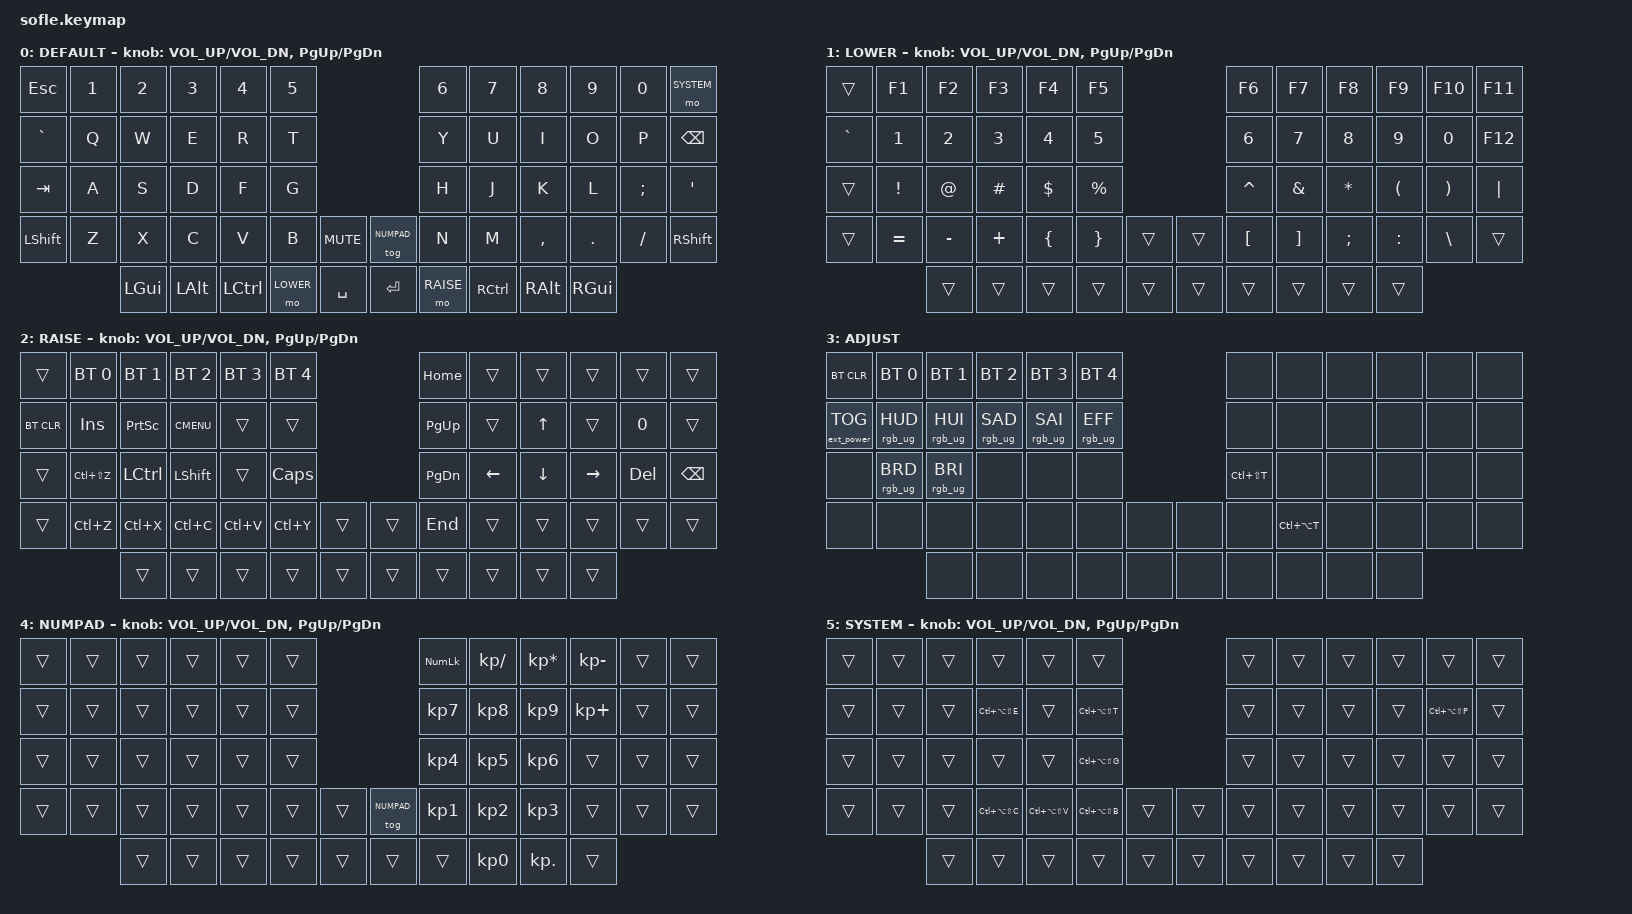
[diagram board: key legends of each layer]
/*
 * Copyright (c) 2020 The ZMK Contributors
 *
 * SPDX-License-Identifier: MIT
 */

#include <behaviors.dtsi>
#include <dt-bindings/zmk/keys.h>
#include <dt-bindings/zmk/bt.h>
#include <dt-bindings/zmk/rgb.h>
#include <dt-bindings/zmk/ext_power.h>

#define BASE 0
#define LOWER 1
#define RAISE 2
#define ADJUST 3
#define NUMPAD 4
#define SYSTEM 5

/ {

   // Activate ADJUST layer by pressing raise and lower
    conditional_layers {
        compatible = "zmk,conditional-layers";
        adjust_layer {
            if-layers = <LOWER RAISE>;
            then-layer = <ADJUST>;
        };
    };

    keymap {
        compatible = "zmk,keymap";

        default_layer {
            display-name = "DEFAULT";
// ------------------------------------------------------------------------------------------------------------
// |  ESC  |  1  |  2  |  3   |  4   |  5   |                   |  6   |  7    |  8    |  9   |   0   |       |
// |   `   |  Q  |  W  |  E   |  R   |  T   |                   |  Y   |  U    |  I    |  O   |   P   | BKSPC |
// |  TAB  |  A  |  S  |  D   |  F   |  G   |                   |  H   |  J    |  K    |  L   |   ;   |   '   |
// | SHIFT |  Z  |  X  |  C   |  V   |  B   |  MUTE  |  |       |  N   |  M    |  ,    |  .   |   /   | SHIFT |
//               | GUI | ALT  | CTRL | LOWER|  SPACE |  | ENTER | RAISE| CTRL  | ALT   | GUI  |
            bindings = <
&kp ESC &kp N1 &kp N2   &kp N3   &kp N4    &kp N5                           &kp N6 &kp N7    &kp N8    &kp N9   &kp N0   &mo SYSTEM
&kp GRAVE &kp Q  &kp W    &kp E    &kp R     &kp T                            &kp Y  &kp U     &kp I     &kp O    &kp P    &kp BSPC
&kp TAB   &kp A  &kp S    &kp D    &kp F     &kp G                            &kp H  &kp J     &kp K     &kp L    &kp SEMI &kp SQT
&kp LSHFT &kp Z  &kp X    &kp C    &kp V     &kp B      &kp C_MUTE &tog NUMPAD      &kp N  &kp M     &kp COMMA &kp DOT  &kp FSLH &kp RSHFT
                 &kp LGUI &kp LALT &kp LCTRL &mo LOWER &kp SPACE  &kp RET   &mo RAISE &kp RCTRL &kp RALT &kp RGUI
            >;

            sensor-bindings = <&inc_dec_kp C_VOL_UP C_VOL_DN &inc_dec_kp PG_UP PG_DN>;
        };

        lower_layer {
            display-name = "LOWER";
// TODO: Some binds are waiting for shifted keycode support.
// ------------------------------------------------------------------------------------------------------------
// |       |  F1 |  F2 |  F3  |  F4  |  F5  |                   |  F6  |  F7   |  F8   |  F9  |  F10  |  F11  |
// |   `   |  1  |  2  |  3   |  4   |  5   |                   |  6   |  7    |  8    |  9   |   0   |  F12  |
// |       |  !  |  @  |  #   |  $   |  %   |                   |  ^   |  &    |  *    |  (   |   )   |   |   |
// |       |  =  |  -  |  +   |  {   |  }   |        |  |       |  [   |  ]    |  ;    |  :   |   \   |       |
//               |     |      |      |      |        |  |       |      |       |       |      |
            bindings = <
&trans    &kp F1    &kp F2    &kp F3      &kp F4    &kp F5                    &kp F6    &kp F7   &kp F8    &kp F9    &kp F10   &kp F11
&kp GRAVE &kp N1    &kp N2    &kp N3      &kp N4    &kp N5                    &kp N6    &kp N7   &kp N8    &kp N9    &kp N0    &kp F12
&trans    &kp EXCL  &kp AT    &kp HASH    &kp DLLR  &kp PRCNT                 &kp CARET &kp AMPS &kp ASTRK &kp LPAR  &kp RPAR  &kp PIPE
&trans    &kp EQUAL &kp MINUS &kp PLUS &kp LBRC  &kp RBRC   &trans &trans  &kp LBKT  &kp RBKT &kp SEMI  &kp COLON &kp BSLH  &trans
                    &trans    &trans      &trans    &trans     &trans &trans  &trans    &trans   &trans    &trans
            >;

            sensor-bindings = <&inc_dec_kp C_VOL_UP C_VOL_DN &inc_dec_kp PG_UP PG_DN>;
        };

        raise_layer {
            display-name = "RAISE";
// ------------------------------------------------------------------------------------------------------------
// | BTCLR | BT1  | BT2  |  BT3  |  BT4  |  BT5 |                | INIT |      |       |      |       |       |
// |       | INS  | PSCR | GUI   |       |      |                | PGUP |      |   ^   |      |       |       |
// |       | ALT  | CTRL | SHIFT |       | CAPS |                | PGDN |   <- |   v   |  ->  |  DEL  | BKSPC |
// |       | UNDO | CUT  | COPY  | PASTE |      |      |  |      | END  |      |       |      |       |       |
//                |      |       |       |      |      |  |      |      |      |       |      |
            bindings = <
&trans     &bt BT_SEL 0  &bt BT_SEL 1 &bt BT_SEL 2 &bt BT_SEL 3 &bt BT_SEL 4                     &kp HOME  &trans    &trans   &trans    &trans  &trans
&bt BT_CLR &kp INS       &kp PSCRN    &kp K_CMENU  &trans       &trans                           &kp PG_UP &trans    &kp UP   &trans    &kp N0  &trans
&trans     &kp LC(LS(Z)) &kp LCTRL    &kp LSHFT    &trans       &kp CLCK                         &kp PG_DN &kp LEFT  &kp DOWN &kp RIGHT &kp DEL &kp BSPC
&trans     &kp LC(Z)     &kp LC(X)    &kp LC(C)    &kp LC(V)    &kp LC(Y)        &trans  &trans  &kp END    &trans    &trans   &trans    &trans  &trans
                         &trans       &trans       &trans       &trans           &trans  &trans  &trans    &trans    &trans   &trans
            >;

            sensor-bindings = <&inc_dec_kp C_VOL_UP C_VOL_DN &inc_dec_kp PG_UP PG_DN>;
        };

// ----------------------------------------------------------------------------------------------------------------------------
// | BTCLR  |  BT1    |  BT2    |   BT3   |   BT4   |   BT5   |               |  OPEN_VSC      |      |       |      |       |       |
// | EXTPWR | RGB_HUD | RGB_HUI | RGB_SAD | RGB_SAI | RGB_EFF |               |                |      |       |      |       |       |
// |        | RGB_BRD | RGB_BRI |         |         |         |               |                |      |       | CAPS |  NUM  | SCRL  |
// |        |         |         |         |         |         | NONE | |      | OPEN_TERMINAL  |      |       |      |       |       |
//                    |         |         |         |         |      | |      |                |      |       |      |
        adjust_layer {
           display-name = "ADJUST";
           bindings = <
&bt BT_CLR        &bt BT_SEL 0    &bt BT_SEL 1    &bt BT_SEL 2    &bt BT_SEL 3    &bt BT_SEL 4                            &none           &none &none &none &none &none
&ext_power EP_TOG &rgb_ug RGB_HUD &rgb_ug RGB_HUI &rgb_ug RGB_SAD &rgb_ug RGB_SAI &rgb_ug RGB_EFF                         &none           &none &none &none &none &none
&none             &rgb_ug RGB_BRD &rgb_ug RGB_BRI &none           &none           &none                                   &kp LC(LS(T))   &none &none &none &none &none
&none             &none           &none           &none           &none           &none            &none &none  &none     &kp LC(LA(T))   &none &none &none &none
                                  &none           &none           &none           &none            &none                  &none           &none &none &none &none
    >;
};
          
numpad_layer {
    display-name = "NUMPAD";

// ------------------------------------------------------------------------------------------------------------
// |       |     |     |     |     |     |                   | NUM |  /  |  *  |  -  |     |       |
// |       |     |     |     |     |     |                   |  7  |  8  |  9  |  +  |     |       |
// |       |     |     |     |     |     |                   |  4  |  5  |  6  |     |     |       |
// |       |     |     |     |     |     |        |  |       |  1  |  2  |  3  |     |     |       |
//               |     |     |     |     |        |  |       |     |  0  |  .  |     |
// ------------------------------------------------------------------------------------------------------------

    bindings = <
&trans &trans &trans &trans &trans &trans                         &kp KP_NUM    &kp KP_DIVIDE &kp KP_MULTIPLY &kp KP_MINUS &trans       &trans
&trans &trans &trans &trans &trans &trans                         &kp KP_N7     &kp KP_N8     &kp KP_N9       &kp KP_PLUS  &trans       &trans
&trans &trans &trans &trans &trans &trans                         &kp KP_N4     &kp KP_N5     &kp KP_N6       &trans       &trans       &trans
&trans &trans &trans &trans &trans &trans &trans &tog NUMPAD      &kp KP_N1     &kp KP_N2     &kp KP_N3       &trans       &trans       &trans
                     &trans &trans &trans &trans &trans &trans    &trans        &kp KP_N0     &kp KP_DOT      &trans
    >;

    sensor-bindings = <
        &inc_dec_kp C_VOL_UP C_VOL_DN
        &inc_dec_kp PG_UP PG_DN
    >;
};
 
system_layer {
    display-name = "SYSTEM";

// ------------------------------------------------------------------------------------------------------------
// |        |        |        |        |        |        |                   |        |        |        |        |        |
// |        |        |        | FILES  |        |  TERM  |                   |        |        |        |        | PWRSHL |
// |        |        |        |        |        |  GIT   |                   |        |        |        |        |        |
// |        |        |        |  CMD   | VSCODE | BROWSER|        |  |       |        |        |        |        |        |
//                   |        |        |        |        |        |  |       |        |        |        |        |
//
// DISPARADORES PERSONALIZADOS:
//
// FILES   = Ctrl + Alt + Shift + E  -> Explorador de archivos
// TERM    = Ctrl + Alt + Shift + T  -> Windows Terminal
// PWRSHL  = Ctrl + Alt + Shift + P  -> PowerShell
// GIT     = Ctrl + Alt + Shift + G  -> Git Bash
// CMD     = Ctrl + Alt + Shift + C  -> Command Prompt
// VSCODE  = Ctrl + Alt + Shift + V  -> Visual Studio Code
// BROWSER = Ctrl + Alt + Shift + B  -> Navegador
//
// Todas las demás teclas son transparentes y conservan el comportamiento de BASE.
// ------------------------------------------------------------------------------------------------------------

    bindings = <
&trans &trans &trans &trans            &trans             &trans                                      &trans &trans &trans &trans &trans            &trans
&trans &trans &trans &kp LC(LA(LS(E))) &trans             &kp LC(LA(LS(T)))                           &trans &trans &trans &trans &kp LC(LA(LS(P))) &trans
&trans &trans &trans &trans            &trans             &kp LC(LA(LS(G)))                           &trans &trans &trans &trans &trans            &trans
&trans &trans &trans &kp LC(LA(LS(C))) &kp LC(LA(LS(V)))  &kp LC(LA(LS(B)))    &trans     &trans      &trans &trans &trans &trans &trans            &trans
              &trans &trans            &trans             &trans               &trans     &trans      &trans &trans &trans &trans
    >;

    sensor-bindings = <
        &inc_dec_kp C_VOL_UP C_VOL_DN
        &inc_dec_kp PG_UP PG_DN
    >;
};
    };
};
